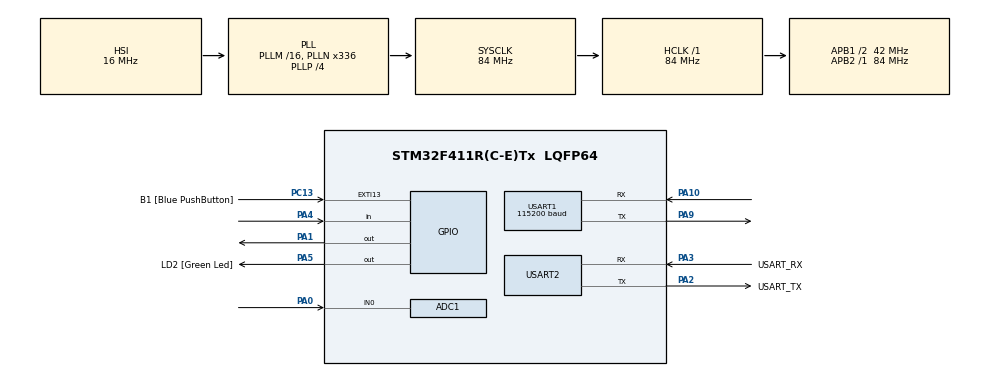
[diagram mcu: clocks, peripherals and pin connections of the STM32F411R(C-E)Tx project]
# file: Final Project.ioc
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ADC1.Channel-1\#ChannelRegularConversion=ADC_CHANNEL_0
ADC1.NbrOfConversionFlag=1
ADC1.Rank-1\#ChannelRegularConversion=1
ADC1.SamplingTime-1\#ChannelRegularConversion=ADC_SAMPLETIME_3CYCLES
ADC1.master=1
Mcu.Family=STM32F4
Mcu.Name=STM32F411R(C-E)Tx
Mcu.Package=LQFP64
NVIC.PriorityGroup=NVIC_PRIORITYGROUP_0
PA0-WKUP.Signal=ADCx_IN0
PA1.Signal=GPIO_Output
PA10.Mode=Asynchronous
PA10.Signal=USART1_RX
PA13.GPIO_Label=TMS
PA13.Mode=Serial_Wire
PA13.Signal=SYS_JTMS-SWDIO
PA14.GPIO_Label=TCK
PA14.Mode=Serial_Wire
PA14.Signal=SYS_JTCK-SWCLK
PA2.GPIO_Label=USART_TX
PA2.Mode=Asynchronous
PA2.Signal=USART2_TX
PA3.GPIO_Label=USART_RX
PA3.Mode=Asynchronous
PA3.Signal=USART2_RX
PA4.Signal=GPIO_Input
PA5.GPIO_Label=LD2 [Green Led]
PA5.Signal=GPIO_Output
PA9.Mode=Asynchronous
PA9.Signal=USART1_TX
PB3.GPIO_Label=SWO
PB3.Signal=SYS_JTDO-SWO
PC13-ANTI_TAMP.GPIO_Label=B1 [Blue PushButton]
PC13-ANTI_TAMP.GPIO_ModeDefaultEXTI=GPIO_MODE_IT_FALLING
PC13-ANTI_TAMP.Signal=GPXTI13
PC14-OSC32_IN.Mode=LSE-External-Oscillator
PC14-OSC32_IN.Signal=RCC_OSC32_IN
PC15-OSC32_OUT.Mode=LSE-External-Oscillator
PC15-OSC32_OUT.Signal=RCC_OSC32_OUT
PH0\ -\ OSC_IN.Mode=HSE-External-Clock-Source
PH0\ -\ OSC_IN.Signal=RCC_OSC_IN
PH1\ -\ OSC_OUT.Mode=HSE-External-Clock-Source
PH1\ -\ OSC_OUT.Signal=RCC_OSC_OUT
ProjectManager.HeapSize=0x200
ProjectManager.StackSize=0x400
ProjectManager.TargetToolchain=STM32CubeIDE
RCC.48MHZClocksFreq_Value=84000000
RCC.AHBFreq_Value=84000000
RCC.APB1CLKDivider=RCC_HCLK_DIV2
RCC.APB1Freq_Value=42000000
RCC.APB1TimFreq_Value=84000000
RCC.APB2Freq_Value=84000000
RCC.APB2TimFreq_Value=84000000
RCC.CortexFreq_Value=84000000
RCC.FLatency-AdvancedSettings=FLASH_LATENCY_2
RCC.HCLKFreq_Value=84000000
RCC.HSE_VALUE=8000000
RCC.HSI_VALUE=16000000
RCC.PLLN=336
RCC.PLLP=RCC_PLLP_DIV4
RCC.SYSCLKFreq_VALUE=84000000
RCC.SYSCLKSource=RCC_SYSCLKSOURCE_PLLCLK
RCC.VCOOutputFreq_Value=336000000
SH.ADCx_IN0.0=ADC1_IN0,IN0
USART1.BaudRate=115200
USART1.VirtualMode=VM_ASYNC
USART2.VirtualMode=VM_ASYNC
board=NUCLEO-F411RE

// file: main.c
/* USER CODE BEGIN Header */
/**
  ******************************************************************************
  * @file           : main.c
  * @brief          : Main program body
  ******************************************************************************
  * @attention
  *
  * Copyright (c) 2023 STMicroelectronics.
  * All rights reserved.
  *
  * This software is licensed under terms that can be found in the LICENSE file
  * in the root directory of this software component.
  * If no LICENSE file comes with this software, it is provided AS-IS.
  *
  ******************************************************************************
  */
/* USER CODE END Header */
#include "main.h"

ADC_HandleTypeDef hadc1;

UART_HandleTypeDef huart1;
UART_HandleTypeDef huart2;

void SystemClock_Config(void);
static void MX_GPIO_Init(void);
static void MX_USART2_UART_Init(void);
static void MX_ADC1_Init(void);
static void MX_USART1_UART_Init(void);

/* USER CODE BEGIN 0 */

const uint16_t SPEAKER_PIN = GPIO_PIN_1;
const uint16_t PIR_SENSOR_PIN = GPIO_PIN_4;
const uint8_t TRANSMIT_DELAY = 1000;

const int MOISTURE_THRESHOLD = 50;

int is_condition_matched(int moisture_percent, int sensor_output) {
	return moisture_percent > MOISTURE_THRESHOLD && sensor_output;
}

/* USER CODE END 0 */

int main(void)
{

  /* MCU Configuration--------------------------------------------------------*/

  /* Reset of all peripherals, Initializes the Flash interface and the Systick. */
  HAL_Init();

  /* Configure the system clock */
  SystemClock_Config();

  /* Initialize all configured peripherals */
  MX_GPIO_Init();
  MX_USART2_UART_Init();
  MX_ADC1_Init();
  MX_USART1_UART_Init();
  /* USER CODE BEGIN 2 */

  int moisture_percent = 0;
  int last_time = HAL_GetTick();

  /* USER CODE END 2 */

  /* Infinite loop */
  /* USER CODE BEGIN WHILE */
  while (1) {
	  // Get soil moisture level
	  double val = 0;
	  HAL_ADC_Start(&hadc1);
	  if (HAL_ADC_PollForConversion(&hadc1, 1000) == HAL_OK) {
		  val = HAL_ADC_GetValue(&hadc1);
		  moisture_percent = (1.0 - val / 4100.0) * 100;
	  }

	  // Send moisture percent to NodeMCU

	  // Check for sensor output
	  int sensor_output = HAL_GPIO_ReadPin(GPIOA, PIR_SENSOR_PIN) == GPIO_PIN_SET;
	  HAL_GPIO_WritePin(GPIOA, GPIO_PIN_5, sensor_output);

	  // Play sound if condition is matched
	  HAL_GPIO_WritePin(GPIOA, SPEAKER_PIN, (is_condition_matched(moisture_percent, sensor_output)) ? GPIO_PIN_SET : GPIO_PIN_RESET);

	  if (HAL_GetTick() - last_time >= TRANSMIT_DELAY) {
		  uint8_t buffer[16];
		  sprintf(buffer, "%d\n\r", moisture_percent);
		  HAL_UART_Transmit(&huart1, buffer, strlen(buffer), TRANSMIT_DELAY);
		  HAL_UART_Transmit(&huart2, buffer, strlen(buffer), TRANSMIT_DELAY);

		  last_time = HAL_GetTick();
	  }

    /* USER CODE END WHILE */

  }
}

void SystemClock_Config(void)
{
  RCC_OscInitTypeDef RCC_OscInitStruct = {0};
  RCC_ClkInitTypeDef RCC_ClkInitStruct = {0};

  /** Configure the main internal regulator output voltage
  */
  __HAL_RCC_PWR_CLK_ENABLE();
  __HAL_PWR_VOLTAGESCALING_CONFIG(PWR_REGULATOR_VOLTAGE_SCALE1);

  /** Initializes the RCC Oscillators according to the specified parameters
  * in the RCC_OscInitTypeDef structure.
  */
  RCC_OscInitStruct.OscillatorType = RCC_OSCILLATORTYPE_HSI;
  RCC_OscInitStruct.HSIState = RCC_HSI_ON;
  RCC_OscInitStruct.HSICalibrationValue = RCC_HSICALIBRATION_DEFAULT;
  RCC_OscInitStruct.PLL.PLLState = RCC_PLL_ON;
  RCC_OscInitStruct.PLL.PLLSource = RCC_PLLSOURCE_HSI;
  RCC_OscInitStruct.PLL.PLLM = 16;
  RCC_OscInitStruct.PLL.PLLN = 336;
  RCC_OscInitStruct.PLL.PLLP = RCC_PLLP_DIV4;
  RCC_OscInitStruct.PLL.PLLQ = 4;
  if (HAL_RCC_OscConfig(&RCC_OscInitStruct) != HAL_OK)
  {
    Error_Handler();
  }

  /** Initializes the CPU, AHB and APB buses clocks
  */
  RCC_ClkInitStruct.ClockType = RCC_CLOCKTYPE_HCLK|RCC_CLOCKTYPE_SYSCLK
                              |RCC_CLOCKTYPE_PCLK1|RCC_CLOCKTYPE_PCLK2;
  RCC_ClkInitStruct.SYSCLKSource = RCC_SYSCLKSOURCE_PLLCLK;
  RCC_ClkInitStruct.AHBCLKDivider = RCC_SYSCLK_DIV1;
  RCC_ClkInitStruct.APB1CLKDivider = RCC_HCLK_DIV2;
  RCC_ClkInitStruct.APB2CLKDivider = RCC_HCLK_DIV1;

  if (HAL_RCC_ClockConfig(&RCC_ClkInitStruct, FLASH_LATENCY_2) != HAL_OK)
  {
    Error_Handler();
  }
}

static void MX_ADC1_Init(void)
{

  ADC_ChannelConfTypeDef sConfig = {0};

  /** Configure the global features of the ADC (Clock, Resolution, Data Alignment and number of conversion)
  */
  hadc1.Instance = ADC1;
  hadc1.Init.ClockPrescaler = ADC_CLOCK_SYNC_PCLK_DIV4;
  hadc1.Init.Resolution = ADC_RESOLUTION_12B;
  hadc1.Init.ScanConvMode = DISABLE;
  hadc1.Init.ContinuousConvMode = DISABLE;
  hadc1.Init.DiscontinuousConvMode = DISABLE;
  hadc1.Init.ExternalTrigConvEdge = ADC_EXTERNALTRIGCONVEDGE_NONE;
  hadc1.Init.ExternalTrigConv = ADC_SOFTWARE_START;
  hadc1.Init.DataAlign = ADC_DATAALIGN_RIGHT;
  hadc1.Init.NbrOfConversion = 1;
  hadc1.Init.DMAContinuousRequests = DISABLE;
  hadc1.Init.EOCSelection = ADC_EOC_SINGLE_CONV;
  if (HAL_ADC_Init(&hadc1) != HAL_OK)
  {
    Error_Handler();
  }

  /** Configure for the selected ADC regular channel its corresponding rank in the sequencer and its sample time.
  */
  sConfig.Channel = ADC_CHANNEL_0;
  sConfig.Rank = 1;
  sConfig.SamplingTime = ADC_SAMPLETIME_3CYCLES;
  if (HAL_ADC_ConfigChannel(&hadc1, &sConfig) != HAL_OK)
  {
    Error_Handler();
  }

}

static void MX_USART1_UART_Init(void)
{

  huart1.Instance = USART1;
  huart1.Init.BaudRate = 115200;
  huart1.Init.WordLength = UART_WORDLENGTH_8B;
  huart1.Init.StopBits = UART_STOPBITS_1;
  huart1.Init.Parity = UART_PARITY_NONE;
  huart1.Init.Mode = UART_MODE_TX_RX;
  huart1.Init.HwFlowCtl = UART_HWCONTROL_NONE;
  huart1.Init.OverSampling = UART_OVERSAMPLING_16;
  if (HAL_UART_Init(&huart1) != HAL_OK)
  {
    Error_Handler();
  }

}

static void MX_USART2_UART_Init(void)
{

  huart2.Instance = USART2;
  huart2.Init.BaudRate = 115200;
  huart2.Init.WordLength = UART_WORDLENGTH_8B;
  huart2.Init.StopBits = UART_STOPBITS_1;
  huart2.Init.Parity = UART_PARITY_NONE;
  huart2.Init.Mode = UART_MODE_TX_RX;
  huart2.Init.HwFlowCtl = UART_HWCONTROL_NONE;
  huart2.Init.OverSampling = UART_OVERSAMPLING_16;
  if (HAL_UART_Init(&huart2) != HAL_OK)
  {
    Error_Handler();
  }

}

static void MX_GPIO_Init(void)
{
  GPIO_InitTypeDef GPIO_InitStruct = {0};

  /* GPIO Ports Clock Enable */
  __HAL_RCC_GPIOC_CLK_ENABLE();
  __HAL_RCC_GPIOH_CLK_ENABLE();
  __HAL_RCC_GPIOA_CLK_ENABLE();
  __HAL_RCC_GPIOB_CLK_ENABLE();

  /*Configure GPIO pin Output Level */
  HAL_GPIO_WritePin(GPIOA, GPIO_PIN_1|LD2_Pin, GPIO_PIN_RESET);

  /*Configure GPIO pin : B1_Pin */
  GPIO_InitStruct.Pin = B1_Pin;
  GPIO_InitStruct.Mode = GPIO_MODE_IT_FALLING;
  GPIO_InitStruct.Pull = GPIO_NOPULL;
  HAL_GPIO_Init(B1_GPIO_Port, &GPIO_InitStruct);

  /*Configure GPIO pins : PA1 LD2_Pin */
  GPIO_InitStruct.Pin = GPIO_PIN_1|LD2_Pin;
  GPIO_InitStruct.Mode = GPIO_MODE_OUTPUT_PP;
  GPIO_InitStruct.Pull = GPIO_NOPULL;
  GPIO_InitStruct.Speed = GPIO_SPEED_FREQ_LOW;
  HAL_GPIO_Init(GPIOA, &GPIO_InitStruct);

  /*Configure GPIO pin : PA4 */
  GPIO_InitStruct.Pin = GPIO_PIN_4;
  GPIO_InitStruct.Mode = GPIO_MODE_INPUT;
  GPIO_InitStruct.Pull = GPIO_NOPULL;
  HAL_GPIO_Init(GPIOA, &GPIO_InitStruct);

}

void Error_Handler(void)
{
  __disable_irq();
  while (1)
  {
  }
}
